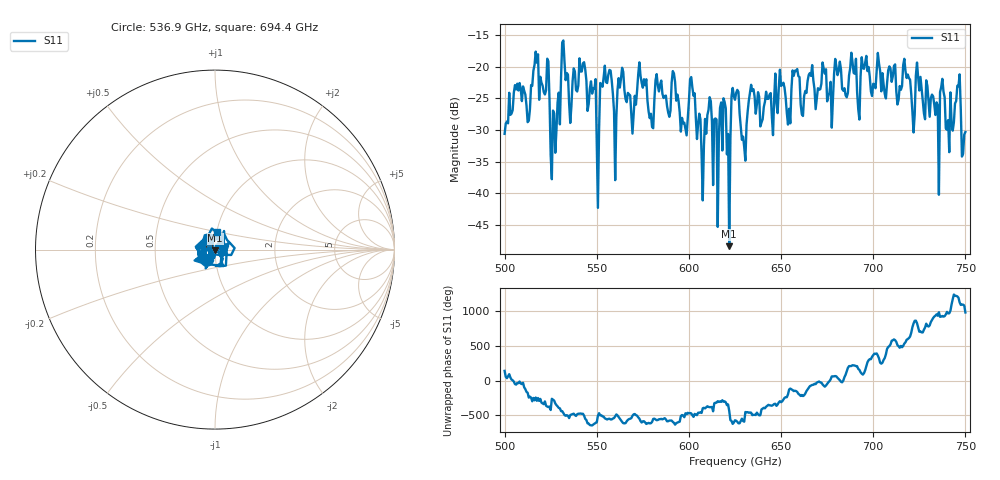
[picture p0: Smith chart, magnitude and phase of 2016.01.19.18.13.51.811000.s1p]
!Created with skrf (http://scikit-rf.org).
# GHz S RI R 50.0
!freq ReS11 ImS11
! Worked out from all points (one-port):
!   401 points, 500 GHz to 750 GHz, reference 50 ohm
!   lowest |S11| = -48.4 dB at 621.9 GHz (marker M1), VSWR 1.01, Z = 50.1 - j0.372 ohm
!   |S11| at or under -10 dB: start of sweep to end of sweep
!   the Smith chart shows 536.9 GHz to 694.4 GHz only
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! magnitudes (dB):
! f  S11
! 500 GHz  -30.6
! 506.9 GHz  -22.7
! 513.1 GHz  -28.5
! 516.9 GHz  -17.6
! 523.1 GHz  -18.7
! 526.2 GHz  -26.9
! 531.2 GHz  -16.2
! 541.9 GHz  -20.8
! 550 GHz  -31.8
! 553.1 GHz  -23.2
! 560 GHz  -37.9
! 562.5 GHz  -23.3
! 593.8 GHz  -24.4
! 598.1 GHz  -29.9
! 601.9 GHz  -23.3
! 608.1 GHz  -32.6
! 611.2 GHz  -24.8
! 618.8 GHz  -25.0
! 621.9 GHz  -48.4
! 625 GHz  -25.2
! 629.4 GHz  -31.1
! 633.8 GHz  -22.9
! 656.2 GHz  -20.6
! 687.5 GHz  -20.2
! 718.8 GHz  -21.2
! 734.4 GHz  -25.7
! 746.2 GHz  -23.1
! 750 GHz  -30.3
